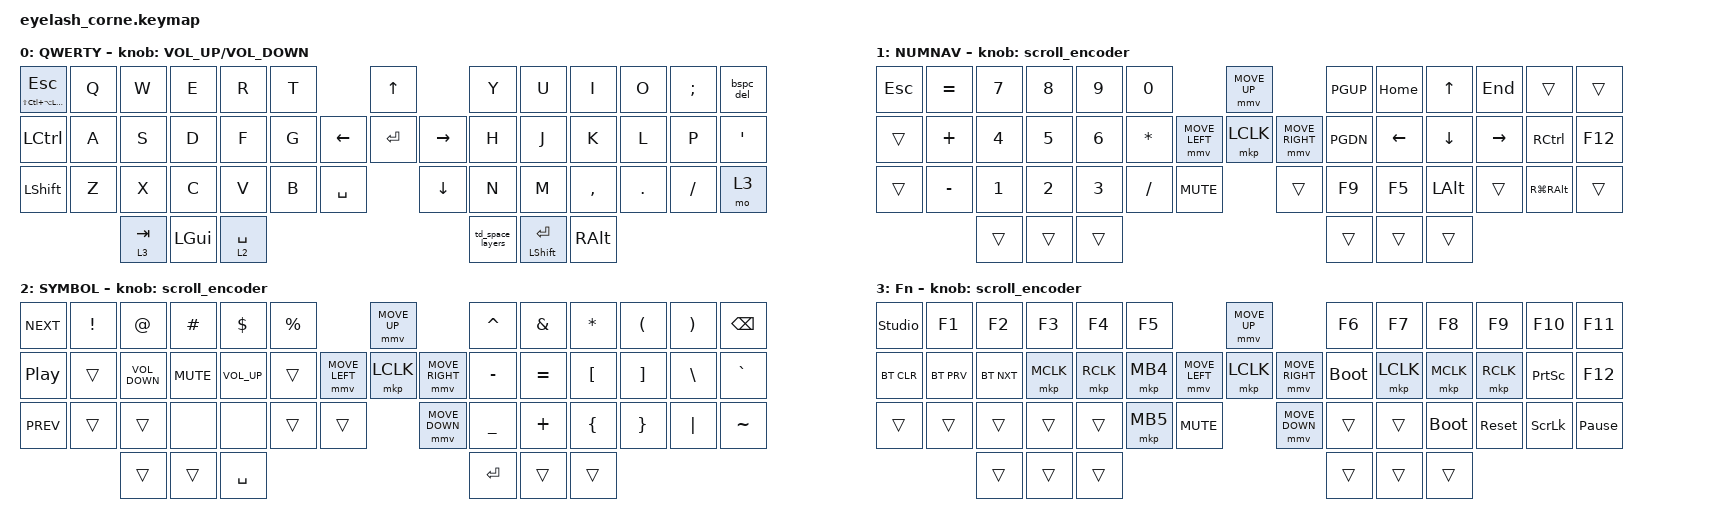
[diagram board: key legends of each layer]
#define ZMK_POINTING_DEFAULT_MOVE_VAL 1200  // 600
#define ZMK_POINTING_DEFAULT_SCRL_VAL 25   // 10

#include <input/processors.dtsi>
#include <zephyr/dt-bindings/input/input-event-codes.h>
#include <behaviors.dtsi>
#include <dt-bindings/zmk/bt.h>
#include <dt-bindings/zmk/keys.h>
#include <dt-bindings/zmk/outputs.h>
#include <dt-bindings/zmk/pointing.h>
#include <dt-bindings/zmk/rgb.h>

&mmv_input_listener { input-processors = <&zip_xy_scaler 2 1>; };

&msc_input_listener { input-processors = <&zip_scroll_scaler 2 1>; };

&msc {
    acceleration-exponent = <1>;      // 0
    time-to-max-speed-ms = <100>;       // 300
    delay-ms = <0>;                   // 0
};

&mmv {
    time-to-max-speed-ms = <500>;
    acceleration-exponent = <1>;
    trigger-period-ms = <16>;
};

&soft_off { hold-time-ms = <2000>; };

/ { 
    behaviors {
        td0: td0 {
            compatible = "zmk,behavior-tap-dance";
            display-name = "Shift/Caps Lock Tap Dance";
            #binding-cells = <0>;
            bindings = <&kp LEFT_SHIFT>, <&kp CAPS>;
        };

        // Space hold-tap: tap=space, hold=raise layer (for single tap behavior)
        spc_raise: spc-raise {
            compatible = "zmk,behavior-hold-tap";
            #binding-cells = <2>;
            tapping-term-ms = <200>;
            quick-tap-ms = <150>;
            flavor = "tap-preferred";
            bindings = <&mo>, <&kp>;
        };

        // Slash hold-tap: tap=slash, hold=lower layer (for double tap behavior)  
        slash_lower: slash-lower {
            compatible = "zmk,behavior-hold-tap";
            #binding-cells = <2>;
            tapping-term-ms = <200>;
            quick-tap-ms = <150>;
            flavor = "tap-preferred";
            bindings = <&mo>, <&kp>;
        };

        // Space complex tap-dance with hold functionality
        td_space_layers: td-space-layers {
            compatible = "zmk,behavior-tap-dance";
            #binding-cells = <0>;
            tapping-term-ms = <200>;
            bindings = <&spc_raise 1 SPACE>, <&slash_lower 2 FSLH>;
        };

        bspc_del: backspace_delete {
            compatible = "zmk,behavior-mod-morph";
            #binding-cells = <0>;
            bindings = <&kp BACKSPACE>, <&kp DELETE>;
            mods = <(MOD_LSFT|MOD_RSFT)>;
            keep-mods = <(MOD_RSFT)>;
        };
    };

    rgb_encoder: rgb_encoder {
        compatible = "zmk,behavior-sensor-rotate";
        #sensor-binding-cells = <0>;
        bindings = <&rgb_ug RGB_BRI>, <&rgb_ug RGB_BRD>;
    };

    scroll_encoder: scroll_encoder {
        compatible = "zmk,behavior-sensor-rotate";
        #sensor-binding-cells = <0>;
        bindings = <&msc SCRL_DOWN>, <&msc SCRL_UP>;

        tap-ms = <100>;
    };

    combos {
        compatible = "zmk,combos";

        softoff {
            bindings = <&soft_off>;
            key-positions = <1 15 29>;
        };

        combo_caps: combo {
            timeout-ms = <50>;
            key-positions = <1 2 3>;   // Q, W, E in this exact layout
            bindings = <&kp CAPSLOCK>;
        };
    };

    keymap {
        compatible = "zmk,keymap";

        default_layer {
            display-name = "QWERTY";
            bindings = <
&mt LS(LC(LA(LGUI))) ESC &kp Q  &kp W  &kp E     &kp R  &kp T                               &kp UP                &kp Y        &kp U  &kp I      &kp O    &kp SEMI  &bspc_del
&kp LCTRL                &kp A  &kp S  &kp D     &kp F  &kp G                     &kp LEFT  &kp ENTER  &kp RIGHT  &kp H        &kp J  &kp K      &kp L    &kp P     &kp SQT
&kp LSHIFT               &kp Z  &kp X  &kp C     &kp V  &kp B        &kp SPACE              &kp DOWN              &kp N        &kp M  &kp COMMA  &kp DOT  &kp FSLH  &mo 3
                                &lt 3 TAB   &kp LGUI  &lt 2 SPACE                                      &td_space_layers  &mt LSHIFT RET  &kp RALT
            >;

            sensor-bindings = <&inc_dec_kp C_VOLUME_UP C_VOLUME_DOWN>;
        };

        lower_layer {
            display-name = "NUMNAV";
            bindings = <
&kp ESC &kp EQUAL   &kp N7          &kp N8        &kp N9        &kp N0                                         &mmv MOVE_UP                     &kp PGUP         &kp HOME         &kp UP           &kp END          &trans       &trans
&trans  &kp PLUS    &kp N4          &kp N5        &kp N6        &kp STAR                       &mmv MOVE_LEFT  &mkp LCLK       &mmv MOVE_RIGHT  &kp PGDN         &kp LEFT         &kp DOWN         &kp RIGHT        &kp RCTRL    &kp F12
&trans  &kp MINUS   &kp N1          &kp N2        &kp N3        &kp SLASH        &kp C_MUTE                    &trans                           &kp F9           &kp F5           &kp LALT         &trans           &kp RG(RALT) &trans
                                         &trans        &trans        &trans                                                &trans          &trans          &trans
            >;

            sensor-bindings = <&scroll_encoder>;
        };

        raise_layer {
            display-name = "SYMBOL";
            bindings = <
&kp C_NEXT       &kp EXCL &kp AT         &kp HASH   &kp DLLR     &kp PRCNT                            &mmv MOVE_UP                     &kp CARET  &kp AMPS   &kp ASTRK  &kp LPAR  &kp RPAR  &kp BSPC
&kp C_PLAY_PAUSE &trans   &kp C_VOL_DOWN &kp C_MUTE &kp C_VOL_UP &trans               &mmv MOVE_LEFT  &mkp LCLK       &mmv MOVE_RIGHT  &kp MINUS  &kp EQUAL  &kp LBKT   &kp RBKT  &kp BSLH  &kp GRAVE
&kp C_PREV       &trans   &trans         &none      &none        &trans     &trans                    &mmv MOVE_DOWN                   &kp UNDER  &kp PLUS   &kp LBRC   &kp RBRC  &kp PIPE  &kp TILDE
                                    &trans     &trans     &kp SPACE                                                             &kp RET    &trans     &trans
            >;

            sensor-bindings = <&scroll_encoder>;
        };

        layer_3 {
            display-name = "Fn";
            bindings = <
&studio_unlock  &kp F1      &kp F2     &kp F3       &kp F4     &kp F5                                  &mmv MOVE_UP                     &kp F6       &kp F7     &kp F8       &kp F9      &kp F10          &kp F11
&bt BT_CLR      &bt BT_PRV  &bt BT_NXT &mkp MCLK    &mkp RCLK  &mkp MB4                &mmv MOVE_LEFT  &mkp LCLK       &mmv MOVE_RIGHT  &bootloader  &mkp LCLK  &mkp MCLK    &mkp RCLK   &kp PRINTSCREEN  &kp F12
&trans          &trans      &trans     &trans       &trans     &mkp MB5  &kp C_MUTE                    &mmv MOVE_DOWN                   &trans       &trans     &bootloader  &sys_reset  &kp SCROLLLOCK   &kp PAUSE_BREAK
                                       &trans       &trans     &trans                                                                   &trans       &trans     &trans
            >;

            sensor-bindings = <&scroll_encoder>;
        };
    };
};
